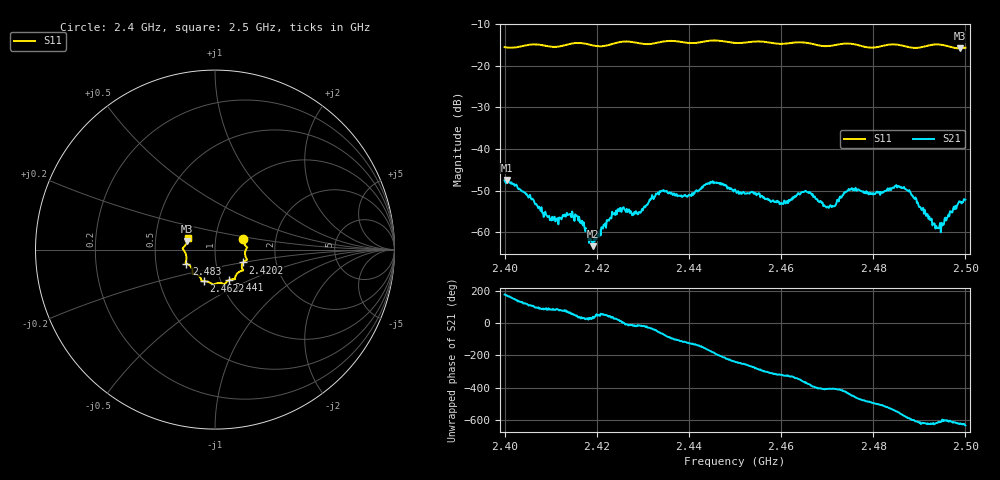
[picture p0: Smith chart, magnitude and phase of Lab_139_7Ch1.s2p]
# Hz S RI R 50
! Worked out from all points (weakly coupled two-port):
!   601 points, 2.4 GHz to 2.5 GHz, reference 50 ohm
!   highest |S21| = -47.43 dB at 2.4005 GHz (marker M1); lowest = -63.3 dB at 2.4192 GHz (marker M2)
!   lowest |S11| = -15.8 dB at 2.4988 GHz (marker M3), VSWR 1.39, Z = 36.4 + j3.49 ohm
!   |S11| at or under -10 dB: start of sweep to end of sweep
!   S12 and S22 are empty: the file has one direction only
!   S11 on the Smith chart (normalised r, x): 2.4 GHz: 1.36, +0.17; 2.4202 GHz: 1.35, -0.20; 2.441 GHz: 1.09, -0.39; 2.4622 GHz: 0.83, -0.30; 2.483 GHz: 0.72, -0.12; 2.5 GHz: 0.73, +0.09
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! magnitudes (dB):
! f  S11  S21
! 2.4 GHz  -15.5  -47.5
! 2.4005 GHz  -15.6  -47.4
! 2.4097 GHz  -15.4  -56.0
! 2.4167 GHz  -14.6  -57.9
! 2.4192 GHz  -15.1  -63.3
! 2.4202 GHz  -15.3  -60.8
! 2.4247 GHz  -14.4  -54.4
! 2.4292 GHz  -14.6  -55.1
! 2.4333 GHz  -14.4  -50.4
! 2.441 GHz  -14.6  -50.6
! 2.4452 GHz  -13.9  -47.7
! 2.45 GHz  -14.5  -49.7
! 2.4622 GHz  -14.5  -52.0
! 2.4667 GHz  -14.7  -51.0
! 2.47 GHz  -15.3  -53.8
! 2.475 GHz  -14.7  -49.7
! 2.483 GHz  -15.0  -49.8
! 2.4833 GHz  -15.0  -50.0
! 2.4875 GHz  -15.5  -50.0
! 2.4942 GHz  -14.9  -59.0
! 2.4988 GHz  -15.8  -52.7
! 2.5 GHz  -15.6  -52.1
